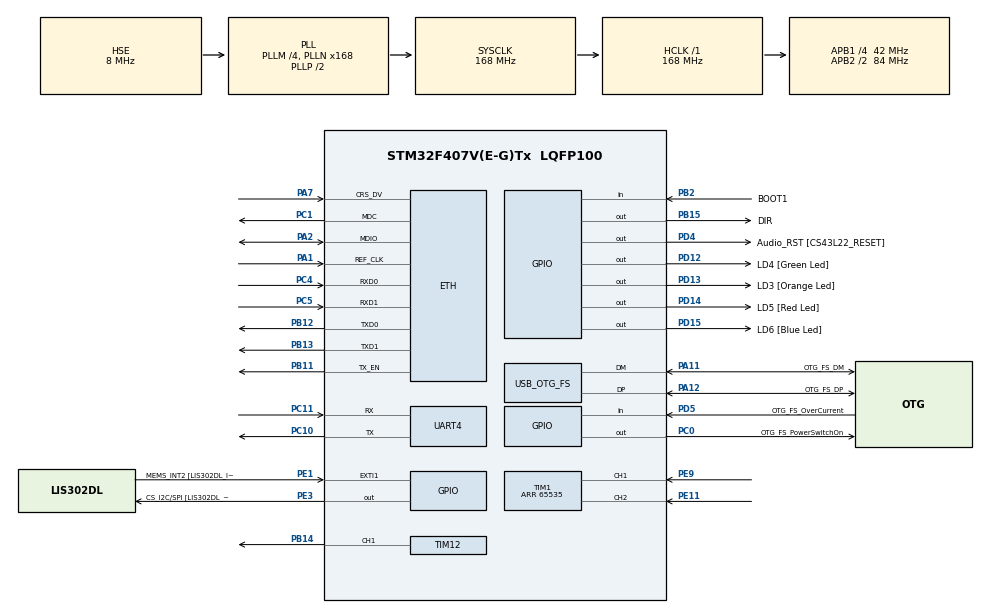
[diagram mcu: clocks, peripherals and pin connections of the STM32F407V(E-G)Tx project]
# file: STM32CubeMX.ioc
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Dma.Request0=UART4_TX
Dma.Request1=UART4_RX
Dma.UART4_RX.1.Direction=DMA_PERIPH_TO_MEMORY
Dma.UART4_RX.1.FIFOMode=DMA_FIFOMODE_DISABLE
Dma.UART4_RX.1.Instance=DMA1_Stream2
Dma.UART4_RX.1.MemDataAlignment=DMA_MDATAALIGN_BYTE
Dma.UART4_RX.1.MemInc=DMA_MINC_ENABLE
Dma.UART4_RX.1.Mode=DMA_NORMAL
Dma.UART4_RX.1.PeriphDataAlignment=DMA_PDATAALIGN_BYTE
Dma.UART4_RX.1.PeriphInc=DMA_PINC_DISABLE
Dma.UART4_RX.1.Priority=DMA_PRIORITY_HIGH
Dma.UART4_TX.0.Direction=DMA_MEMORY_TO_PERIPH
Dma.UART4_TX.0.FIFOMode=DMA_FIFOMODE_DISABLE
Dma.UART4_TX.0.Instance=DMA1_Stream4
Dma.UART4_TX.0.MemDataAlignment=DMA_MDATAALIGN_BYTE
Dma.UART4_TX.0.MemInc=DMA_MINC_ENABLE
Dma.UART4_TX.0.Mode=DMA_NORMAL
Dma.UART4_TX.0.PeriphDataAlignment=DMA_PDATAALIGN_BYTE
Dma.UART4_TX.0.PeriphInc=DMA_PINC_DISABLE
Dma.UART4_TX.0.Priority=DMA_PRIORITY_HIGH
ETH.MediaInterface=ETH_MEDIA_INTERFACE_RMII
ETH.PHY_Name_RMII=DP83848_PHY_ADDRESS
LWIP.GATEWAY_ADDRESS=192.168.000.001
LWIP.IP_ADDRESS=192.168.000.010
LWIP.LWIP_DHCP=0
LWIP.NETMASK_ADDRESS=255.255.255.000
LWIP.Version=v2.0.3_Cube
Mcu.Family=STM32F4
Mcu.Name=STM32F407V(E-G)Tx
Mcu.Package=LQFP100
NVIC.DMA1_Stream2_IRQn=true\:0\:0\:false\:false\:true\:false\:true
NVIC.DMA1_Stream4_IRQn=true\:0\:0\:false\:false\:true\:false\:true
NVIC.OTG_FS_IRQn=true\:0\:0\:false\:false\:true\:true\:true
NVIC.PriorityGroup=NVIC_PRIORITYGROUP_0
NVIC.TIM6_DAC_IRQn=true\:0\:1\:false\:false\:true\:true\:true
NVIC.UART4_IRQn=true\:0\:0\:false\:false\:true\:true\:true
PA1.Mode=RMII
PA1.Signal=ETH_REF_CLK
PA11.GPIO_Label=OTG_FS_DM
PA11.GPIO_Mode=GPIO_MODE_AF_PP
PA11.GPIO_PuPd=GPIO_NOPULL
PA11.GPIO_Speed=GPIO_SPEED_FREQ_HIGH
PA11.Mode=Device_Only
PA11.Signal=USB_OTG_FS_DM
PA12.GPIO_Label=OTG_FS_DP
PA12.GPIO_Mode=GPIO_MODE_AF_PP
PA12.GPIO_PuPd=GPIO_NOPULL
PA12.GPIO_Speed=GPIO_SPEED_FREQ_HIGH
PA12.Mode=Device_Only
PA12.Signal=USB_OTG_FS_DP
PA13.GPIO_Label=SWDIO
PA13.Mode=Trace_Asynchronous_SW
PA13.Signal=SYS_JTMS-SWDIO
PA14.GPIO_Label=SWCLK
PA14.Mode=Trace_Asynchronous_SW
PA14.Signal=SYS_JTCK-SWCLK
PA2.Mode=RMII
PA2.Signal=ETH_MDIO
PA4.GPIO_Label=I2S3_WS [CS43L22_LRCK]
PA4.GPIO_Mode=GPIO_MODE_AF_PP
PA4.GPIO_PuPd=GPIO_NOPULL
PA4.GPIO_Speed=GPIO_SPEED_FREQ_LOW
PA4.Signal=I2S3_WS
PA5.GPIO_Label=SPI1_SCK [LIS302DL_SCL/SPC]
PA5.GPIO_Mode=GPIO_MODE_AF_PP
PA5.GPIO_PuPd=GPIO_NOPULL
PA5.GPIO_Speed=GPIO_SPEED_FREQ_LOW
PA5.Signal=SPI1_SCK
PA6.GPIO_Label=SPI1_MISO [LIS302DL_SDO]
PA6.GPIO_Mode=GPIO_MODE_AF_PP
PA6.GPIO_PuPd=GPIO_NOPULL
PA6.GPIO_Speed=GPIO_SPEED_FREQ_LOW
PA6.Signal=SPI1_MISO
PA7.Mode=RMII
PA7.Signal=ETH_CRS_DV
PB10.GPIO_Label=CLK_IN [MP45DT02_CLK]
PB10.GPIO_Mode=GPIO_MODE_AF_PP
PB10.GPIO_PuPd=GPIO_NOPULL
PB10.GPIO_Speed=GPIO_SPEED_FREQ_LOW
PB10.Signal=I2S2_CK
PB11.Mode=RMII
PB11.Signal=ETH_TX_EN
PB12.Mode=RMII
PB12.Signal=ETH_TXD0
PB13.Mode=RMII
PB13.Signal=ETH_TXD1
PB14.GPIO_PuPd=GPIO_PULLUP
PB14.GPIO_Speed=GPIO_SPEED_FREQ_HIGH
PB14.Signal=S_TIM12_CH1
PB15.GPIO_Label=DIR
PB15.GPIO_PuPd=GPIO_NOPULL
PB15.GPIO_Speed=GPIO_SPEED_FREQ_HIGH
PB15.PinState=GPIO_PIN_RESET
PB15.Signal=GPIO_Output
PB2.GPIO_Label=BOOT1
PB2.GPIO_Mode=GPIO_MODE_INPUT
PB2.GPIO_PuPd=GPIO_NOPULL
PB2.Signal=GPIO_Input
PB3.GPIO_Label=SWO
PB3.Mode=Trace_Asynchronous_SW
PB3.Signal=SYS_JTDO-SWO
PB6.GPIO_Label=Audio_SCL [CS43L22_SCL]
PB6.GPIO_Mode=GPIO_MODE_AF_OD
PB6.GPIO_PuPd=GPIO_NOPULL
PB6.GPIO_Speed=GPIO_SPEED_FREQ_LOW
PB6.Signal=I2C1_SCL
PB9.GPIO_Label=Audio_SDA [CS43L22_SDA]
PB9.GPIO_Mode=GPIO_MODE_AF_OD
PB9.GPIO_PuPd=GPIO_NOPULL
PB9.GPIO_Speed=GPIO_SPEED_FREQ_LOW
PB9.Signal=I2C1_SDA
PC0.GPIO_Label=OTG_FS_PowerSwitchOn
PC0.GPIO_PuPd=GPIO_NOPULL
PC0.GPIO_Speed=GPIO_SPEED_FREQ_LOW
PC0.PinState=GPIO_PIN_SET
PC0.Signal=GPIO_Output
PC1.Mode=RMII
PC1.Signal=ETH_MDC
PC10.GPIO_Speed=GPIO_SPEED_FREQ_HIGH
PC10.Mode=Asynchronous
PC10.Signal=UART4_TX
PC11.GPIO_Speed=GPIO_SPEED_FREQ_HIGH
PC11.Mode=Asynchronous
PC11.Signal=UART4_RX
PC12.GPIO_Label=I2S3_SD [CS43L22_SDIN]
PC12.GPIO_Mode=GPIO_MODE_AF_PP
PC12.GPIO_PuPd=GPIO_NOPULL
PC12.GPIO_Speed=GPIO_SPEED_FREQ_LOW
PC12.Signal=I2S3_SD
PC14-OSC32_IN.GPIO_Label=PC14-OSC32_IN
PC14-OSC32_IN.Mode=LSE-External-Oscillator
PC14-OSC32_IN.Signal=RCC_OSC32_IN
PC15-OSC32_OUT.GPIO_Label=PC15-OSC32_OUT
PC15-OSC32_OUT.Mode=LSE-External-Oscillator
PC15-OSC32_OUT.Signal=RCC_OSC32_OUT
PC3.GPIO_Label=PDM_OUT [MP45DT02_DOUT]
PC3.GPIO_Mode=GPIO_MODE_AF_PP
PC3.GPIO_PuPd=GPIO_NOPULL
PC3.GPIO_Speed=GPIO_SPEED_FREQ_LOW
PC3.Signal=I2S2_SD
PC4.Mode=RMII
PC4.Signal=ETH_RXD0
PC5.Mode=RMII
PC5.Signal=ETH_RXD1
PC7.GPIO_Label=I2S3_MCK [CS43L22_MCLK]
PC7.GPIO_Mode=GPIO_MODE_AF_PP
PC7.GPIO_PuPd=GPIO_NOPULL
PC7.GPIO_Speed=GPIO_SPEED_FREQ_LOW
PC7.Signal=I2S3_MCK
PD12.GPIO_Label=LD4 [Green Led]
PD12.GPIO_PuPd=GPIO_NOPULL
PD12.GPIO_Speed=GPIO_SPEED_FREQ_LOW
PD12.Signal=GPIO_Output
PD13.GPIO_Label=LD3 [Orange Led]
PD13.GPIO_PuPd=GPIO_NOPULL
PD13.GPIO_Speed=GPIO_SPEED_FREQ_LOW
PD13.Signal=GPIO_Output
PD14.GPIO_Label=LD5 [Red Led]
PD14.GPIO_PuPd=GPIO_NOPULL
PD14.GPIO_Speed=GPIO_SPEED_FREQ_LOW
PD14.Signal=GPIO_Output
PD15.GPIO_Label=LD6 [Blue Led]
PD15.GPIO_PuPd=GPIO_NOPULL
PD15.GPIO_Speed=GPIO_SPEED_FREQ_LOW
PD15.Signal=GPIO_Output
PD4.GPIO_Label=Audio_RST [CS43L22_RESET]
PD4.GPIO_PuPd=GPIO_NOPULL
PD4.GPIO_Speed=GPIO_SPEED_FREQ_LOW
PD4.Signal=GPIO_Output
PD5.GPIO_Label=OTG_FS_OverCurrent
PD5.GPIO_Mode=GPIO_MODE_INPUT
PD5.GPIO_PuPd=GPIO_NOPULL
PD5.Signal=GPIO_Input
PE1.GPIO_Label=MEMS_INT2 [LIS302DL_INT2]
PE1.GPIO_ModeDefaultEXTI=GPIO_MODE_EVT_RISING
PE1.GPIO_PuPd=GPIO_NOPULL
PE1.Signal=GPXTI1
PE11.GPIO_PuPd=GPIO_PULLDOWN
PE11.GPIO_Speed=GPIO_SPEED_FREQ_HIGH
PE11.Signal=S_TIM1_CH2
PE3.GPIO_Label=CS_I2C/SPI [LIS302DL_CS_I2C/SPI]
PE3.GPIO_PuPd=GPIO_NOPULL
PE3.GPIO_Speed=GPIO_SPEED_FREQ_LOW
PE3.Signal=GPIO_Output
PE9.GPIO_PuPd=GPIO_PULLUP
PE9.GPIO_Speed=GPIO_SPEED_FREQ_HIGH
PE9.Signal=S_TIM1_CH1
PH0-OSC_IN.GPIO_Label=PH0-OSC_IN
PH0-OSC_IN.Mode=HSE-External-Oscillator
PH0-OSC_IN.Signal=RCC_OSC_IN
PH1-OSC_OUT.GPIO_Label=PH1-OSC_OUT
PH1-OSC_OUT.Mode=HSE-External-Oscillator
PH1-OSC_OUT.Signal=RCC_OSC_OUT
ProjectManager.HeapSize=0x200
ProjectManager.StackSize=0x400
ProjectManager.TargetToolchain=MDK-ARM V5
RCC.48MHZClocksFreq_Value=48000000
RCC.AHBFreq_Value=168000000
RCC.APB1CLKDivider=RCC_HCLK_DIV4
RCC.APB1Freq_Value=42000000
RCC.APB1TimFreq_Value=84000000
RCC.APB2CLKDivider=RCC_HCLK_DIV2
RCC.APB2Freq_Value=84000000
RCC.APB2TimFreq_Value=168000000
RCC.CortexFreq_Value=168000000
RCC.HCLKFreq_Value=168000000
RCC.HSE_VALUE=8000000
RCC.HSI_VALUE=16000000
RCC.PLLM=4
RCC.PLLN=168
RCC.PLLQ=7
RCC.SYSCLKFreq_VALUE=168000000
RCC.SYSCLKSource=RCC_SYSCLKSOURCE_PLLCLK
RCC.VCOOutputFreq_Value=336000000
SH.S_TIM12_CH1.0=TIM12_CH1,PWM Generation1 CH1
SH.S_TIM1_CH1.0=TIM1_CH1,Encoder_Interface
SH.S_TIM1_CH2.0=TIM1_CH2,Encoder_Interface
TIM1.EncoderMode=TIM_ENCODERMODE_TI12
TIM1.Period=65535
TIM12.Channel-PWM\ Generation1\ CH1=TIM_CHANNEL_1
TIM12.OCFastMode_PWM-PWM\ Generation1\ CH1=TIM_OCFAST_ENABLE
TIM12.Period=839
TIM12.Prescaler=9
TIM6.AutoReloadPreload=TIM_AUTORELOAD_PRELOAD_ENABLE
TIM6.Period=999
TIM6.Prescaler=839
UART4.VirtualMode=Asynchronous
USB_DEVICE.CLASS_NAME_FS=CDC
USB_DEVICE.CONFIGURATION_STRING_CDC_FS=USB Config
USB_DEVICE.INTERFACE_STRING_CDC_FS=Bulk Interface
USB_DEVICE.PRODUCT_STRING_CDC_FS=STM32 USB BULK HIENND
USB_DEVICE.VirtualMode-CDC_FS=Cdc
USB_DEVICE.VirtualModeFS=Cdc_FS
USB_OTG_FS.VirtualMode=Device_Only
VP_LWIP_VS_Enabled.Mode=Enabled
VP_TIM12_VS_ClockSourceINT.Mode=Internal
VP_TIM6_VS_ClockSourceINT.Mode=Enable_Timer
VP_USB_DEVICE_VS_USB_DEVICE_CDC_FS.Mode=CDC_FS
board=STM32F407G-DISC1

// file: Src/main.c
/* USER CODE BEGIN Header */
/**
  ******************************************************************************
  * @file           : main.c
  * @brief          : Main program body
  ******************************************************************************
  * @attention
  *
  * <h2><center>&copy; Copyright (c) 2019 STMicroelectronics.
  * All rights reserved.</center></h2>
  *
  * This software component is licensed by ST under Ultimate Liberty license
  * SLA0044, the "License"; You may not use this file except in compliance with
  * the License. You may obtain a copy of the License at:
  *                             www.st.com/SLA0044
  *
  ******************************************************************************
  */
/* USER CODE END Header */

#include "main.h"
#include "lwip.h"
#include "usb_device.h"

/* USER CODE BEGIN Includes */
#include "tcp_echoserver.h"
#include "usbd_bulk.h"
/* USER CODE END Includes */

/* USER CODE BEGIN PD */
#define RXBUFFERSIZE                     36//TXBUFFERSIZE
#define TXBUFFERSIZE                     (COUNTOF(aTxBuffer) - 1)
#define COUNTOF(__BUFFER__)   (sizeof(__BUFFER__) / sizeof(*(__BUFFER__)))

/* USER CODE END PD */

TIM_HandleTypeDef htim1;
TIM_HandleTypeDef htim6;
TIM_HandleTypeDef htim12;

UART_HandleTypeDef huart4;
DMA_HandleTypeDef hdma_uart4_tx;
DMA_HandleTypeDef hdma_uart4_rx;

/* USER CODE BEGIN PV */
uint8_t tick_flag = 0;
__IO ITStatus UartReady = RESET;

__IO uint8_t rxUsbBuffer[64] = {0}; //rx
char txUsbBuffer[64] = {0}; //tx
char txRs232Buffer[64] = {0}; //tx

uint8_t len=0;
double speed;                          /* 'Speed RPM' */
double setpoint;                       /* 'Pulse Generator' */
double pwm; 													 /* 'PWM (%duty)' */
double e, pPart=0 , iPart=0, dPart=0, udk;
double Kp = 0.069066251961963, Ki = 4.2249318902055, Kd = 0.000282261778653273, Ts = 0.005;

PluseGenerator cPulse;
PID_Gain cPID;
Status cComStatus;
uint32_t nTimeStop = 0;
/* USER CODE END PV */

void SystemClock_Config(void);
static void MX_GPIO_Init(void);
static void MX_DMA_Init(void);
static void MX_TIM1_Init(void);
static void MX_TIM12_Init(void);
static void MX_UART4_Init(void);
static void MX_TIM6_Init(void);
/* USER CODE BEGIN PFP */
int32_t ENC0_GetSpeed(void);
void PID_step(void);
void PWM0_Set_Duty(int16_t d);

/* USER CODE END PFP */
/* USER CODE BEGIN 0 */
//a Function convert 8byte to double
double ConvertByte2Double(uint8_t *nbytes){
	//uint8_t nbytes[8] = {214,21,111,109,83,174,177,63}; //OK
	double *dDouble = (double*) nbytes;
	return *dDouble;
}

/* USER CODE END 0 */

int main(void)
{

  /* MCU Configuration--------------------------------------------------------*/

  /* Reset of all peripherals, Initializes the Flash interface and the Systick. */
  HAL_Init();

  /* Configure the system clock */
  SystemClock_Config();

  /* Initialize all configured peripherals */
  MX_GPIO_Init();
  MX_DMA_Init();
  MX_TIM1_Init();
  MX_TIM12_Init();
  MX_UART4_Init();
  MX_LWIP_Init();
  MX_TIM6_Init();
  MX_USB_DEVICE_Init();
  /* USER CODE BEGIN 2 */

	HAL_TIM_Encoder_Start(&htim1,TIM_CHANNEL_ALL);
	HAL_TIM_PWM_Start(&htim12, TIM_CHANNEL_1);
	PWM0_Set_Duty(0);
	//HAL_TIM_Base_Start_IT(&htim6); //Start the timer
	HAL_Delay(500);
	HAL_UART_Receive_DMA(&huart4, (uint8_t *)rxUsbBuffer, RXBUFFERSIZE);
	tcp_echoserver_init();
  /* USER CODE END 2 */

  /* Infinite loop */
  while (1)
  {

    /* USER CODE BEGIN 3 */
		MX_LWIP_Process();
		//
		if (cComStatus.ready == 1){ //USB + RS232
			cComStatus.ready = 0;
			HAL_GPIO_TogglePin(GPIOD,GPIO_PIN_14);
			//process data...
			cPulse.Amp = rxUsbBuffer[28] << 8 | rxUsbBuffer[27];
			cPulse.Period = rxUsbBuffer[29];
			cPulse.Duty = rxUsbBuffer[30];
			cPulse.Tstop = rxUsbBuffer[32] << 8 | rxUsbBuffer[31];
			//
			cComStatus.bRun = rxUsbBuffer[0];
			cComStatus.uCom = rxUsbBuffer[1];
			cComStatus.Manaul_Auto = rxUsbBuffer[33];
			cComStatus.uSlide = ((uint16_t)rxUsbBuffer[35] << 8) | rxUsbBuffer[34];
			//
			cPID.Ts = rxUsbBuffer[2];
			//
			uint8_t nbytes[8] = {0,0,0,0,0,0,0};
			int i=0;
			for(i=0;i<8;i++) nbytes[i] = rxUsbBuffer[3+i];
			cPID.Kp = ConvertByte2Double(nbytes);

			for(i=0;i<8;i++) nbytes[i] = rxUsbBuffer[11+i];
			cPID.Ki = ConvertByte2Double(nbytes);

			for(i=0;i<8;i++) nbytes[i] = rxUsbBuffer[19+i];
			cPID.Kd = ConvertByte2Double(nbytes);
			//COPY to ...
			Kp = cPID.Kp;
			Ki = cPID.Ki;
			Kd = cPID.Kd;
			Ts = (double)cPID.Ts/1000.0;
		}
		if (tick_flag>=cPID.Ts) { //ms
			tick_flag = 0;
			if (cComStatus.bRun)
			{
					PID_step();
			}
			else
			{ //reset
				PWM0_Set_Duty(0);
				udk = pwm = 0;
				pPart = iPart= dPart=0;
			}
		}
		//
		if (UartReady == SET)
		{
			UartReady = RESET;
			cComStatus.ready = 1;
			HAL_UART_Receive_DMA(&huart4, (uint8_t *)rxUsbBuffer, RXBUFFERSIZE);
		}
  }
  /* USER CODE END 3 */
}

void SystemClock_Config(void)
{
  RCC_OscInitTypeDef RCC_OscInitStruct = {0};
  RCC_ClkInitTypeDef RCC_ClkInitStruct = {0};

  /** Configure the main internal regulator output voltage
  */
  __HAL_RCC_PWR_CLK_ENABLE();
  __HAL_PWR_VOLTAGESCALING_CONFIG(PWR_REGULATOR_VOLTAGE_SCALE1);
  /** Initializes the CPU, AHB and APB busses clocks
  */
  RCC_OscInitStruct.OscillatorType = RCC_OSCILLATORTYPE_HSE;
  RCC_OscInitStruct.HSEState = RCC_HSE_ON;
  RCC_OscInitStruct.PLL.PLLState = RCC_PLL_ON;
  RCC_OscInitStruct.PLL.PLLSource = RCC_PLLSOURCE_HSE;
  RCC_OscInitStruct.PLL.PLLM = 4;
  RCC_OscInitStruct.PLL.PLLN = 168;
  RCC_OscInitStruct.PLL.PLLP = RCC_PLLP_DIV2;
  RCC_OscInitStruct.PLL.PLLQ = 7;
  if (HAL_RCC_OscConfig(&RCC_OscInitStruct) != HAL_OK)
  {
    Error_Handler();
  }
  /** Initializes the CPU, AHB and APB busses clocks
  */
  RCC_ClkInitStruct.ClockType = RCC_CLOCKTYPE_HCLK|RCC_CLOCKTYPE_SYSCLK
                              |RCC_CLOCKTYPE_PCLK1|RCC_CLOCKTYPE_PCLK2;
  RCC_ClkInitStruct.SYSCLKSource = RCC_SYSCLKSOURCE_PLLCLK;
  RCC_ClkInitStruct.AHBCLKDivider = RCC_SYSCLK_DIV1;
  RCC_ClkInitStruct.APB1CLKDivider = RCC_HCLK_DIV4;
  RCC_ClkInitStruct.APB2CLKDivider = RCC_HCLK_DIV2;

  if (HAL_RCC_ClockConfig(&RCC_ClkInitStruct, FLASH_LATENCY_5) != HAL_OK)
  {
    Error_Handler();
  }
}

static void MX_TIM1_Init(void)
{

  TIM_Encoder_InitTypeDef sConfig = {0};
  TIM_MasterConfigTypeDef sMasterConfig = {0};

  htim1.Instance = TIM1;
  htim1.Init.Prescaler = 0;
  htim1.Init.CounterMode = TIM_COUNTERMODE_UP;
  htim1.Init.Period = 65535;
  htim1.Init.ClockDivision = TIM_CLOCKDIVISION_DIV1;
  htim1.Init.RepetitionCounter = 0;
  htim1.Init.AutoReloadPreload = TIM_AUTORELOAD_PRELOAD_DISABLE;
  sConfig.EncoderMode = TIM_ENCODERMODE_TI12;
  sConfig.IC1Polarity = TIM_ICPOLARITY_RISING;
  sConfig.IC1Selection = TIM_ICSELECTION_DIRECTTI;
  sConfig.IC1Prescaler = TIM_ICPSC_DIV1;
  sConfig.IC1Filter = 0;
  sConfig.IC2Polarity = TIM_ICPOLARITY_RISING;
  sConfig.IC2Selection = TIM_ICSELECTION_DIRECTTI;
  sConfig.IC2Prescaler = TIM_ICPSC_DIV1;
  sConfig.IC2Filter = 0;
  if (HAL_TIM_Encoder_Init(&htim1, &sConfig) != HAL_OK)
  {
    Error_Handler();
  }
  sMasterConfig.MasterOutputTrigger = TIM_TRGO_RESET;
  sMasterConfig.MasterSlaveMode = TIM_MASTERSLAVEMODE_DISABLE;
  if (HAL_TIMEx_MasterConfigSynchronization(&htim1, &sMasterConfig) != HAL_OK)
  {
    Error_Handler();
  }

}

static void MX_TIM6_Init(void)
{

  TIM_MasterConfigTypeDef sMasterConfig = {0};

  htim6.Instance = TIM6;
  htim6.Init.Prescaler = 839;
  htim6.Init.CounterMode = TIM_COUNTERMODE_UP;
  htim6.Init.Period = 999;
  htim6.Init.AutoReloadPreload = TIM_AUTORELOAD_PRELOAD_ENABLE;
  if (HAL_TIM_Base_Init(&htim6) != HAL_OK)
  {
    Error_Handler();
  }
  sMasterConfig.MasterOutputTrigger = TIM_TRGO_RESET;
  sMasterConfig.MasterSlaveMode = TIM_MASTERSLAVEMODE_DISABLE;
  if (HAL_TIMEx_MasterConfigSynchronization(&htim6, &sMasterConfig) != HAL_OK)
  {
    Error_Handler();
  }

}

static void MX_TIM12_Init(void)
{

  TIM_ClockConfigTypeDef sClockSourceConfig = {0};
  TIM_OC_InitTypeDef sConfigOC = {0};

  htim12.Instance = TIM12;
  htim12.Init.Prescaler = 9;
  htim12.Init.CounterMode = TIM_COUNTERMODE_UP;
  htim12.Init.Period = 839;
  htim12.Init.ClockDivision = TIM_CLOCKDIVISION_DIV1;
  htim12.Init.AutoReloadPreload = TIM_AUTORELOAD_PRELOAD_DISABLE;
  if (HAL_TIM_Base_Init(&htim12) != HAL_OK)
  {
    Error_Handler();
  }
  sClockSourceConfig.ClockSource = TIM_CLOCKSOURCE_INTERNAL;
  if (HAL_TIM_ConfigClockSource(&htim12, &sClockSourceConfig) != HAL_OK)
  {
    Error_Handler();
  }
  if (HAL_TIM_PWM_Init(&htim12) != HAL_OK)
  {
    Error_Handler();
  }
  sConfigOC.OCMode = TIM_OCMODE_PWM1;
  sConfigOC.Pulse = 0;
  sConfigOC.OCPolarity = TIM_OCPOLARITY_HIGH;
  sConfigOC.OCFastMode = TIM_OCFAST_ENABLE;
  if (HAL_TIM_PWM_ConfigChannel(&htim12, &sConfigOC, TIM_CHANNEL_1) != HAL_OK)
  {
    Error_Handler();
  }
  HAL_TIM_MspPostInit(&htim12);

}

static void MX_UART4_Init(void)
{

  huart4.Instance = UART4;
  huart4.Init.BaudRate = 256000;//115200;
  huart4.Init.WordLength = UART_WORDLENGTH_8B;
  huart4.Init.StopBits = UART_STOPBITS_1;
  huart4.Init.Parity = UART_PARITY_NONE;
  huart4.Init.Mode = UART_MODE_TX_RX;
  huart4.Init.HwFlowCtl = UART_HWCONTROL_NONE;
  huart4.Init.OverSampling = UART_OVERSAMPLING_16;
  if (HAL_UART_Init(&huart4) != HAL_OK)
  {
    Error_Handler();
  }

}

static void MX_DMA_Init(void)
{

  /* DMA controller clock enable */
  __HAL_RCC_DMA1_CLK_ENABLE();

  /* DMA interrupt init */
  /* DMA1_Stream2_IRQn interrupt configuration */
  HAL_NVIC_SetPriority(DMA1_Stream2_IRQn, 0, 0);
  HAL_NVIC_EnableIRQ(DMA1_Stream2_IRQn);
  /* DMA1_Stream4_IRQn interrupt configuration */
  HAL_NVIC_SetPriority(DMA1_Stream4_IRQn, 0, 0);
  HAL_NVIC_EnableIRQ(DMA1_Stream4_IRQn);

}

static void MX_GPIO_Init(void)
{
  GPIO_InitTypeDef GPIO_InitStruct = {0};

  /* GPIO Ports Clock Enable */
  __HAL_RCC_GPIOE_CLK_ENABLE();
  __HAL_RCC_GPIOC_CLK_ENABLE();
  __HAL_RCC_GPIOH_CLK_ENABLE();
  __HAL_RCC_GPIOA_CLK_ENABLE();
  __HAL_RCC_GPIOB_CLK_ENABLE();
  __HAL_RCC_GPIOD_CLK_ENABLE();

  /*Configure GPIO pin Output Level */
  HAL_GPIO_WritePin(CS_I2C_SPI_GPIO_Port, CS_I2C_SPI_Pin, GPIO_PIN_RESET);

  /*Configure GPIO pin Output Level */
  HAL_GPIO_WritePin(OTG_FS_PowerSwitchOn_GPIO_Port, OTG_FS_PowerSwitchOn_Pin, GPIO_PIN_SET);

  /*Configure GPIO pin Output Level */
  HAL_GPIO_WritePin(DIR_GPIO_Port, DIR_Pin, GPIO_PIN_RESET);

  /*Configure GPIO pin Output Level */
  HAL_GPIO_WritePin(GPIOD, LD4_Pin|LD3_Pin|LD5_Pin|LD6_Pin
                          |Audio_RST_Pin, GPIO_PIN_RESET);

  /*Configure GPIO pin : CS_I2C_SPI_Pin */
  GPIO_InitStruct.Pin = CS_I2C_SPI_Pin;
  GPIO_InitStruct.Mode = GPIO_MODE_OUTPUT_PP;
  GPIO_InitStruct.Pull = GPIO_NOPULL;
  GPIO_InitStruct.Speed = GPIO_SPEED_FREQ_LOW;
  HAL_GPIO_Init(CS_I2C_SPI_GPIO_Port, &GPIO_InitStruct);

  /*Configure GPIO pin : OTG_FS_PowerSwitchOn_Pin */
  GPIO_InitStruct.Pin = OTG_FS_PowerSwitchOn_Pin;
  GPIO_InitStruct.Mode = GPIO_MODE_OUTPUT_PP;
  GPIO_InitStruct.Pull = GPIO_NOPULL;
  GPIO_InitStruct.Speed = GPIO_SPEED_FREQ_LOW;
  HAL_GPIO_Init(OTG_FS_PowerSwitchOn_GPIO_Port, &GPIO_InitStruct);

  /*Configure GPIO pin : PDM_OUT_Pin */
  GPIO_InitStruct.Pin = PDM_OUT_Pin;
  GPIO_InitStruct.Mode = GPIO_MODE_AF_PP;
  GPIO_InitStruct.Pull = GPIO_NOPULL;
  GPIO_InitStruct.Speed = GPIO_SPEED_FREQ_LOW;
  GPIO_InitStruct.Alternate = GPIO_AF5_SPI2;
  HAL_GPIO_Init(PDM_OUT_GPIO_Port, &GPIO_InitStruct);

  /*Configure GPIO pin : I2S3_WS_Pin */
  GPIO_InitStruct.Pin = I2S3_WS_Pin;
  GPIO_InitStruct.Mode = GPIO_MODE_AF_PP;
  GPIO_InitStruct.Pull = GPIO_NOPULL;
  GPIO_InitStruct.Speed = GPIO_SPEED_FREQ_LOW;
  GPIO_InitStruct.Alternate = GPIO_AF6_SPI3;
  HAL_GPIO_Init(I2S3_WS_GPIO_Port, &GPIO_InitStruct);

  /*Configure GPIO pins : SPI1_SCK_Pin SPI1_MISO_Pin */
  GPIO_InitStruct.Pin = SPI1_SCK_Pin|SPI1_MISO_Pin;
  GPIO_InitStruct.Mode = GPIO_MODE_AF_PP;
  GPIO_InitStruct.Pull = GPIO_NOPULL;
  GPIO_InitStruct.Speed = GPIO_SPEED_FREQ_LOW;
  GPIO_InitStruct.Alternate = GPIO_AF5_SPI1;
  HAL_GPIO_Init(GPIOA, &GPIO_InitStruct);

  /*Configure GPIO pin : BOOT1_Pin */
  GPIO_InitStruct.Pin = BOOT1_Pin;
  GPIO_InitStruct.Mode = GPIO_MODE_INPUT;
  GPIO_InitStruct.Pull = GPIO_NOPULL;
  HAL_GPIO_Init(BOOT1_GPIO_Port, &GPIO_InitStruct);

  /*Configure GPIO pin : CLK_IN_Pin */
  GPIO_InitStruct.Pin = CLK_IN_Pin;
  GPIO_InitStruct.Mode = GPIO_MODE_AF_PP;
  GPIO_InitStruct.Pull = GPIO_NOPULL;
  GPIO_InitStruct.Speed = GPIO_SPEED_FREQ_LOW;
  GPIO_InitStruct.Alternate = GPIO_AF5_SPI2;
  HAL_GPIO_Init(CLK_IN_GPIO_Port, &GPIO_InitStruct);

  /*Configure GPIO pin : DIR_Pin */
  GPIO_InitStruct.Pin = DIR_Pin;
  GPIO_InitStruct.Mode = GPIO_MODE_OUTPUT_PP;
  GPIO_InitStruct.Pull = GPIO_NOPULL;
  GPIO_InitStruct.Speed = GPIO_SPEED_FREQ_HIGH;
  HAL_GPIO_Init(DIR_GPIO_Port, &GPIO_InitStruct);

  /*Configure GPIO pins : LD4_Pin LD3_Pin LD5_Pin LD6_Pin
                           Audio_RST_Pin */
  GPIO_InitStruct.Pin = LD4_Pin|LD3_Pin|LD5_Pin|LD6_Pin
                          |Audio_RST_Pin;
  GPIO_InitStruct.Mode = GPIO_MODE_OUTPUT_PP;
  GPIO_InitStruct.Pull = GPIO_NOPULL;
  GPIO_InitStruct.Speed = GPIO_SPEED_FREQ_LOW;
  HAL_GPIO_Init(GPIOD, &GPIO_InitStruct);

  /*Configure GPIO pins : I2S3_MCK_Pin I2S3_SD_Pin */
  GPIO_InitStruct.Pin = I2S3_MCK_Pin|I2S3_SD_Pin;
  GPIO_InitStruct.Mode = GPIO_MODE_AF_PP;
  GPIO_InitStruct.Pull = GPIO_NOPULL;
  GPIO_InitStruct.Speed = GPIO_SPEED_FREQ_LOW;
  GPIO_InitStruct.Alternate = GPIO_AF6_SPI3;
  HAL_GPIO_Init(GPIOC, &GPIO_InitStruct);

  /*Configure GPIO pin : OTG_FS_OverCurrent_Pin */
  GPIO_InitStruct.Pin = OTG_FS_OverCurrent_Pin;
  GPIO_InitStruct.Mode = GPIO_MODE_INPUT;
  GPIO_InitStruct.Pull = GPIO_NOPULL;
  HAL_GPIO_Init(OTG_FS_OverCurrent_GPIO_Port, &GPIO_InitStruct);

  /*Configure GPIO pins : Audio_SCL_Pin Audio_SDA_Pin */
  GPIO_InitStruct.Pin = Audio_SCL_Pin|Audio_SDA_Pin;
  GPIO_InitStruct.Mode = GPIO_MODE_AF_OD;
  GPIO_InitStruct.Pull = GPIO_PULLUP;
  GPIO_InitStruct.Speed = GPIO_SPEED_FREQ_LOW;
  GPIO_InitStruct.Alternate = GPIO_AF4_I2C1;
  HAL_GPIO_Init(GPIOB, &GPIO_InitStruct);

  /*Configure GPIO pin : MEMS_INT2_Pin */
  GPIO_InitStruct.Pin = MEMS_INT2_Pin;
  GPIO_InitStruct.Mode = GPIO_MODE_EVT_RISING;
  GPIO_InitStruct.Pull = GPIO_NOPULL;
  HAL_GPIO_Init(MEMS_INT2_GPIO_Port, &GPIO_InitStruct);

}

/* USER CODE BEGIN 4 */
void HAL_TIM_PeriodElapsedCallback(TIM_HandleTypeDef *htim)
{
	// This callback is automatically called by the HAL on the UEV event
	if(htim->Instance == TIM6){
		//HAL_GPIO_TogglePin(GPIOD, LD6_Pin);
		//PID_step();
	}

}

int32_t clockTickCounter;            /* '<Root>/Pulse Generator' */
double predPart = 0;
/* PID step function */
void PID_step(void)
{
	//speed = (double)ENC0_GetSpeed()*7.5; // = 60000.0/Ts/1600 = 37.5/Ts//rpm
	speed = (double)ENC0_GetSpeed()*37.5/cPID.Ts; //60.0*200.0/1600; //rpm

	if (!cComStatus.Manaul_Auto) //ckbManual.Checked
	{
		/* DiscretePulseGenerator: '<Root>/Pulse Generator1' */
		//clockTickCounter < 2s/5ms = 400ms = (long)cPulse.Period*1000/cPID.Ts
		setpoint = (clockTickCounter < (long)cPulse.Period*500/cPID.Ts) && (clockTickCounter >= 0)
			? (double)cPulse.Amp: 0.0;
		//clockTickCounter >= 799 --> stop = 4s/5ms = 800 (duty = 50% --> 2s = 4s/2)
		if (clockTickCounter >= (long)cPulse.Period*1000/cPID.Ts-1) clockTickCounter = 0;
		else  clockTickCounter++;
	}
	else {
		setpoint = cComStatus.uSlide;
	}

	e = setpoint - speed;
	pPart = Kp * e;

	iPart += 0.5*Ts * Ki*e; //+ preiPart;

	dPart =  Kd/Ts * e - predPart; // -
	predPart = Kd/Ts * e;
	udk = pPart + iPart + dPart;

  /* Saturate */
  if (udk > 1000.0) {
    pwm = 1000.0;
  } else if (udk < 0.0) {
    pwm = 0.0;
  } else {
    pwm = udk;
  }

	PWM0_Set_Duty((int)pwm);
	len = sprintf((char *)txUsbBuffer,"%ld,%ld,%ld\r\n",(long)setpoint,(long)speed,(long)pwm);
	//txRs232Buffer
	txRs232Buffer[0] = 'A';
	txRs232Buffer[1] = (char)',';
	for(int i=0;i<=len;i++)
	{
		txRs232Buffer[i+2] = txUsbBuffer[i];
	}
	HAL_UART_Transmit_DMA(&huart4,(uint8_t*)txRs232Buffer,len+2);
}

/* Get encoder counter 32 bit */
int32_t ENC0_GetSpeed(void)
{
	static int32_t 	p = 0, p_pre = 0, dp = 0;
  //static int32_t 	pulse_cur = 0.0;

	p = (int32_t)TIM1->CNT;
	dp = p - p_pre; //+/- (speed)
	if (dp > 32768)
		dp -= 65536;
	else if (dp < -32768)
		dp += 65536;
	p_pre = p;

	return dp;
}
/* Output pwm frequency - unit: 0.1% */
void PWM0_Set_Duty(int16_t d)
{
	if (d<-1000)
		d = -1000;
	else if (d>1000)
		d = 1000;

	if (d == 0){
		//GPIO_SetBits(GPIOD,GPIO_Pin_10);  	// disable pwm
	}
	else if (d > 0)	{
		//
		HAL_GPIO_WritePin(DIR_GPIO_Port,DIR_Pin,GPIO_PIN_RESET); // dir = 1
	}
	else 	{
		HAL_GPIO_WritePin(DIR_GPIO_Port,DIR_Pin,GPIO_PIN_SET); // dir = 0
		d = -d;
	}
	d = (TIM12->ARR+1)*d/1000;
	TIM12->CCR1 = (uint32_t)d;
}

/**
  * @brief  Rx Transfer completed callback
  * @param  UartHandle: UART handle
  * @note   This example shows a simple way to report end of DMA Rx transfer, and
  *         you can add your own implementation.
  * @retval None
  */
void HAL_UART_RxCpltCallback(UART_HandleTypeDef *UartHandle)
{
  /* Set transmission flag: transfer complete */
  UartReady = SET;
  HAL_GPIO_TogglePin(GPIOD,GPIO_PIN_13);
}
/* USER CODE END 4 */

void Error_Handler(void)
{
}

/************************ (C) COPYRIGHT STMicroelectronics *****END OF FILE****/
